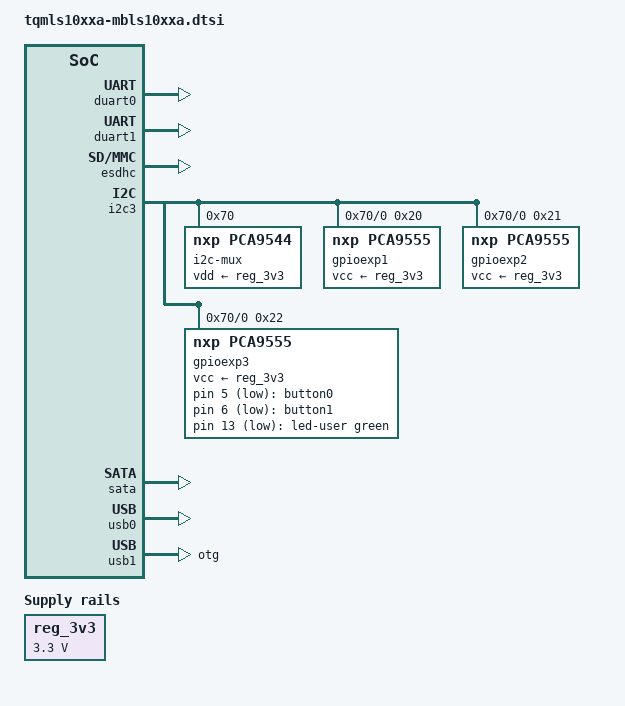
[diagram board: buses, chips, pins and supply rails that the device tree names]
// SPDX-License-Identifier: (GPL-2.0-or-later OR MIT)
/*
 * Copyright (c) 2018-2023 TQ-Systems GmbH <linux@ew.tq-group.com>,
 * D-82229 Seefeld, Germany.
 * Author: Gregor Herburger, Timo Herbrecher
 *
 * Device Tree Include file for MBLS10xxA from TQ
 */

#include <dt-bindings/input/input.h>
#include <dt-bindings/gpio/gpio.h>
#include <dt-bindings/leds/common.h>

/ {
	gpio-keys-polled {
		compatible = "gpio-keys-polled";
		poll-interval = <100>;
		autorepeat;

		button-0 {
			label = "button0";
			gpios = <&gpioexp3 5 GPIO_ACTIVE_LOW>;
			linux,code = <KEY_F1>;
		};

		button-1 {
			label = "button1";
			gpios = <&gpioexp3 6 GPIO_ACTIVE_LOW>;
			linux,code = <KEY_F2>;
		};
	};

	leds {
		compatible = "gpio-leds";

		led-user {
			gpios = <&gpioexp3 13 GPIO_ACTIVE_LOW>;
			color = <LED_COLOR_ID_GREEN>;
			function = LED_FUNCTION_HEARTBEAT;
			linux,default-trigger = "heartbeat";
		};
	};

	reg_3v3: regulator-3v3 {
		compatible = "regulator-fixed";
		regulator-name = "V_3V3_MB";
		regulator-min-microvolt = <3300000>;
		regulator-max-microvolt = <3300000>;
	};

	sfp1: sfp1 {
		compatible = "sff,sfp";
		i2c-bus = <&sfp1_i2c>;
		mod-def0-gpios = <&gpioexp2 2 GPIO_ACTIVE_LOW>;
		los-gpios = <&gpioexp2 3 GPIO_ACTIVE_HIGH>;
		tx-fault-gpios = <&gpioexp2 0 GPIO_ACTIVE_HIGH>;
		tx-disable-gpios = <&gpioexp2 1 GPIO_ACTIVE_HIGH>;
		status = "disabled";
	};

	sfp2: sfp2 {
		compatible = "sff,sfp";
		i2c-bus = <&sfp2_i2c>;
		mod-def0-gpios = <&gpioexp2 10 GPIO_ACTIVE_LOW>;
		los-gpios = <&gpioexp2 11 GPIO_ACTIVE_HIGH>;
		tx-fault-gpios = <&gpioexp2 8 GPIO_ACTIVE_HIGH>;
		tx-disable-gpios = <&gpioexp2 9 GPIO_ACTIVE_HIGH>;
		status = "disabled";
	};
};

&duart0 {
	status = "okay";
};

&duart1 {
	status = "okay";
};

&esdhc {
	status = "okay";
};

&i2c3 {
	status = "okay";

	i2c-mux@70 {
		compatible = "nxp,pca9544";
		reg = <0x70>;
		#address-cells = <1>;
		#size-cells = <0>;
		vdd-supply = <&reg_3v3>;

		i2c@0 {
			reg = <0x0>;
			#address-cells = <1>;
			#size-cells = <0>;

			gpioexp1: gpio@20 {
				compatible = "nxp,pca9555";
				reg = <0x20>;
				vcc-supply = <&reg_3v3>;
				gpio-controller;
				#gpio-cells = <2>;
			};

			gpioexp2: gpio@21 {
				compatible = "nxp,pca9555";
				reg = <0x21>;
				vcc-supply = <&reg_3v3>;
				gpio-controller;
				#gpio-cells = <2>;
			};

			gpioexp3: gpio@22 {
				compatible = "nxp,pca9555";
				reg = <0x22>;
				vcc-supply = <&reg_3v3>;
				gpio-controller;
				#gpio-cells = <2>;
			};
		};

		sfp1_i2c: i2c@1 {
			reg = <0x1>;
			#address-cells = <1>;
			#size-cells = <0>;
			status = "disabled";
		};

		sfp2_i2c: i2c@2 {
			reg = <0x2>;
			#address-cells = <1>;
			#size-cells = <0>;
			status = "disabled";
		};

		i2c@3 {
			reg = <0x3>;
			#address-cells = <1>;
			#size-cells = <0>;
		};
	};
};

&sata {
	status = "okay";
};

&usb0 {
	status = "okay";
};

&usb1 {
	dr_mode = "otg";
	status = "okay";
};
